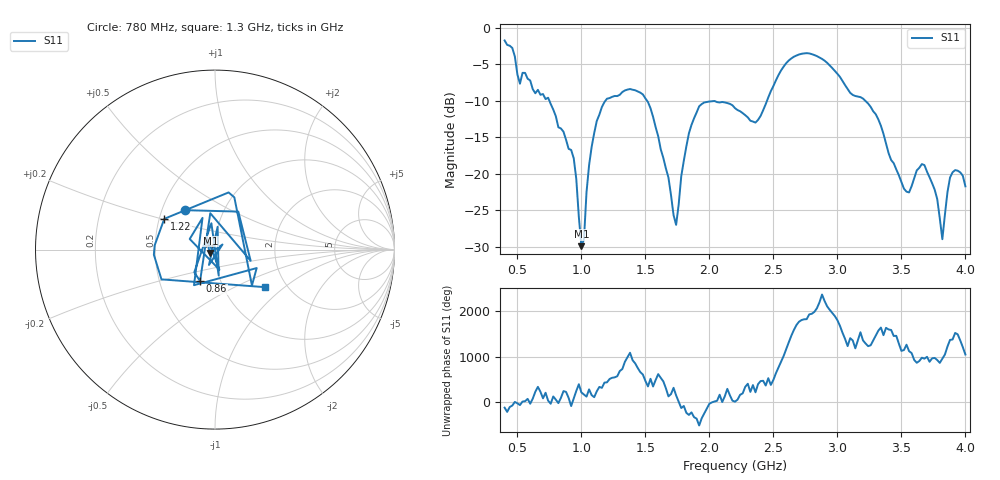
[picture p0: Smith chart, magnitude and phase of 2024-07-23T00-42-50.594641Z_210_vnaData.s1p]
!Created with skrf (http://scikit-rf.org).
# Hz S RI R 50.0
!freq ReS11 ImS11
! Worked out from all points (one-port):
!   181 points, 400 MHz to 4 GHz, reference 50 ohm
!   lowest |S11| = -29.9 dB at 1 GHz (marker M1), VSWR 1.07, Z = 47.4 - j1.76 ohm
!   |S11| at or under -10 dB: 750.2 MHz to 1.187 GHz (436.7 MHz wide, 45.1 % of centre); 1.514 GHz to 2.45 GHz (936 MHz wide, 47.2 % of centre); 3.219 GHz to end of sweep
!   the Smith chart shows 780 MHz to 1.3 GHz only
!   S11 on the Smith chart (normalised r, x): 780 MHz: 0.66, +0.31; 860 MHz: 0.80, -0.29; 1.22 GHz: 0.53, +0.20; 1.3 GHz: 1.56, -0.74
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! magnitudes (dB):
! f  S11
! 400 MHz  -1.7
! 520 MHz  -7.6
! 780 MHz  -11.2
! 860 MHz  -14.2
! 940 MHz  -17.9
! 1 GHz  -29.9
! 1.02 GHz  -29.0
! 1.06 GHz  -18.8
! 1.1 GHz  -14.4
! 1.22 GHz  -9.6
! 1.3 GHz  -9.2
! 1.52 GHz  -10.2
! 1.74 GHz  -27.0
! 1.76 GHz  -24.2
! 1.84 GHz  -14.4
! 1.92 GHz  -10.7
! 2.2 GHz  -11.0
! 2.36 GHz  -13.0
! 2.66 GHz  -3.9
! 2.88 GHz  -4.2
! 3.1 GHz  -8.9
! 3.3 GHz  -11.8
! 3.56 GHz  -22.6
! 3.68 GHz  -18.8
! 3.78 GHz  -23.5
! 3.82 GHz  -29.0
! 3.88 GHz  -20.5
! 4 GHz  -21.7
